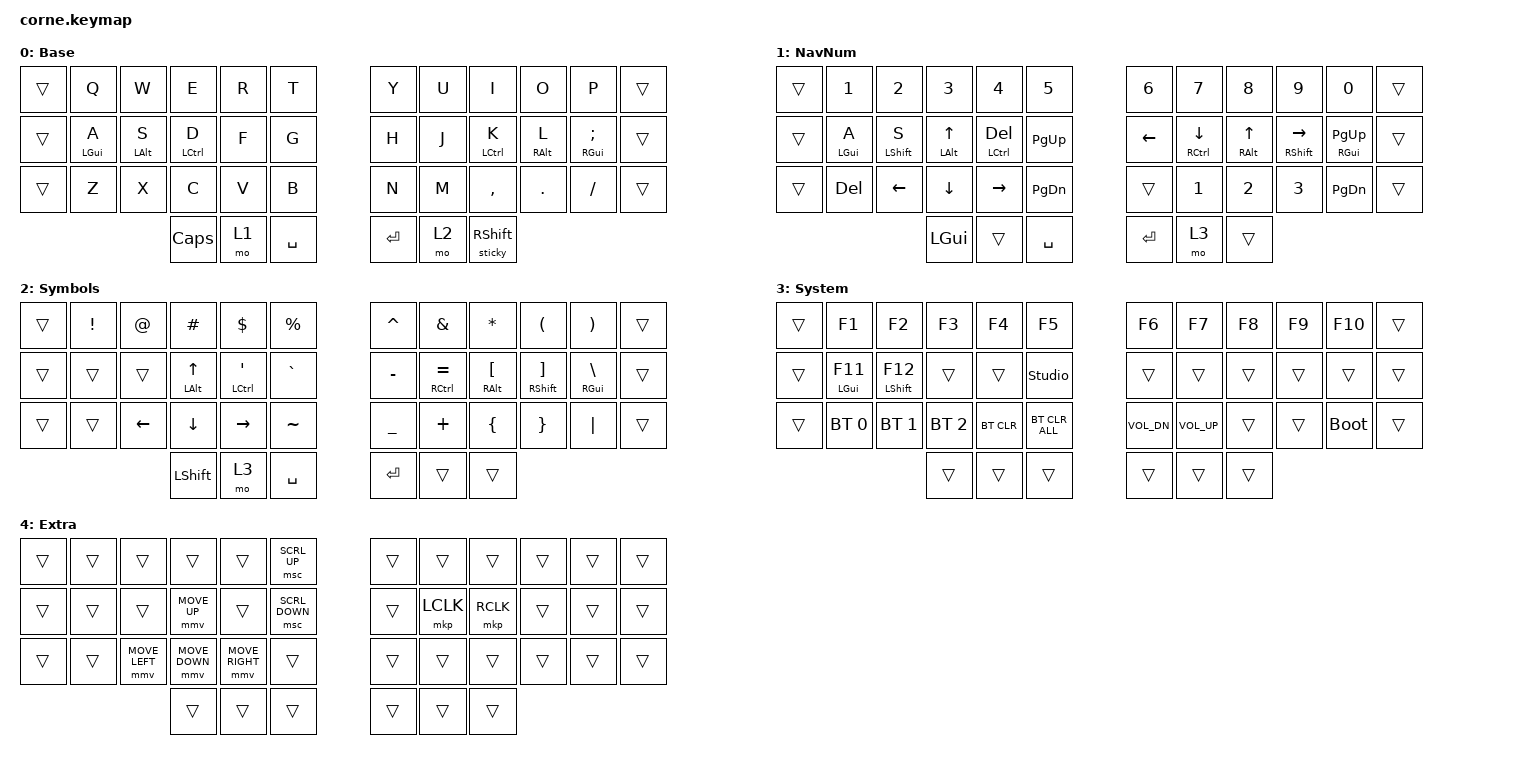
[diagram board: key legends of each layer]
#include <behaviors.dtsi>
#include <dt-bindings/zmk/bt.h>
#include <dt-bindings/zmk/keys.h>
#include <dt-bindings/zmk/pointing.h>

#define DEF 0
#define NAV 1
#define SYM 2
#define ADJ 3
#define EXTRA 4

/ {
    behaviors {
        hm: homerow_mods {
            compatible = "zmk,behavior-hold-tap";
            #binding-cells = <2>;
            tapping-term-ms = <200>;
            flavor = "tap-preferred";
            bindings = <&kp>, <&kp>;

            quick-tap-ms = <175>;
            require-prior-idle-ms = <150>; /* tune to taste */
            hold-trigger-on-release;
        };

        hml: homerow_mods_left {
            compatible = "zmk,behavior-hold-tap";
            label = "HML";
            bindings = <&kp>, <&kp>;

            #binding-cells = <2>;
            tapping-term-ms = <280>;
            quick-tap-ms = <200>;
            require-prior-idle-ms = <150>;
            flavor = "tap-preferred";
            hold-trigger-key-positions = <6 7 8 9 10 18 19 20 21 22 30 31 32 33 34>;
            hold-trigger-on-release;
        };

        hmr: homerow_mods_right {
            compatible = "zmk,behavior-hold-tap";
            label = "HMR";
            bindings = <&kp>, <&kp>;

            #binding-cells = <2>;
            tapping-term-ms = <280>;
            quick-tap-ms = <200>;
            require-prior-idle-ms = <150>;
            flavor = "tap-preferred";
            hold-trigger-key-positions = <1 2 3 4 5 13 14 15 16 17 25 26 27 28 29>;
            hold-trigger-on-release;
        };

        sticky: sticky {
            compatible = "zmk,behavior-sticky-key";
            label = "STICKY";
            bindings = <&kp>;
            #binding-cells = <1>;
            release-after-ms = <300>;
            quick-release;
        };
    };

    combos {
        compatible = "zmk,combos";

        Escape {
            bindings = <&kp ESC>;
            key-positions = <14 15 16>;
        };

        Backspace {
            bindings = <&kp BACKSPACE>;
            key-positions = <19 20 21>;
        };

        Tab {
            bindings = <&kp TAB>;
            key-positions = <7 8 9>;
        };

        question_mark {
            bindings = <&kp QUESTION>;
            key-positions = <32 33>;
        };

        exclamation_mark {
            bindings = <&kp EXCLAMATION>;
            key-positions = <20 21>;
        };

        backtick {
            bindings = <&kp GRAVE>;
            key-positions = <13 14>;
        };

        single_quote {
            bindings = <&kp SINGLE_QUOTE>;
            key-positions = <14 15>;
        };

        double_quote {
            bindings = <&kp DOUBLE_QUOTES>;
            key-positions = <15 16>;
        };

        colon {
            bindings = <&kp COLON>;
            key-positions = <21 22>;
        };

        lt {
            bindings = <&kp LT>;
            key-positions = <31 32>;
        };

        gt {
            bindings = <&kp GT>;
            key-positions = <33 34>;
        };

        l_shift {
            bindings = <&kp LEFT_SHIFT>;
            key-positions = <2 3>;
        };

        r_shift {
            bindings = <&kp RIGHT_SHIFT>;
            key-positions = <8 9>;
        };
    };

    //

    keymap {
        compatible = "zmk,keymap";

        DEF {
            display-name = "Base";

            // -----------------------------------------------------------------------------------------
            // |  Q  |  W  |  E  |  R  |  T  |   |  Y  |  U   |  I  |  O  |  P  |
            // |  A  |  S  |  D  |  F  |  G  |   |  H  |  J   |  K  |  L  |  ;  |
            // |  Z  |  X  |  C  |  V  |  B  |   |  N  |  M   |  ,  |  .  |  /  |
            // | GUI | CTRL | SHFT | LWR | SPC |   | ENT | RSE  | BKSP | ALT | ESC |

            bindings = <
&trans  &kp Q        &kp W        &kp E                &kp R  &kp T        &kp Y    &kp U  &kp I                &kp O        &kp P           &trans
&trans  &hml LGUI A  &hml LALT S  &hml LEFT_CONTROL D  &kp F  &kp G        &kp H    &kp J  &hmr LEFT_CONTROL K  &hmr RALT L  &hmr RGUI SEMI  &trans
&trans  &kp Z        &kp X        &kp C                &kp V  &kp B        &kp N    &kp M  &kp COMMA            &kp DOT      &kp FSLH        &trans
                                  &kp CAPSLOCK         &mo 1  &kp SPACE    &kp RET  &mo 2  &sticky RIGHT_SHIFT
            >;
        };

        NAV {
            display-name = "NavNum";

            // -----------------------------------------------------------------------------------------
            // |  TAB |  1  |  2  |  3  |  4  |  5  |   |  6  |  7  |  8  |  9  |  0  | BKSP |
            // | BTCLR| BT1 | BT2 | BT3 | BT4 | BT5 |   | LFT | DWN |  UP | RGT |     |      |
            // | SHFT |     |     |     |     |     |   |     |     |     |     |     |      |
            // | GUI | CTRL | SHFT | LWR | SPC |   | ENT | RSE  | BKSP | ALT | ESC |

            bindings = <
&trans  &kp NUMBER_1  &kp NUMBER_2  &kp NUMBER_3       &kp NUMBER_4     &kp NUMBER_5     &kp N6          &kp N7                &kp N8             &kp N9                 &kp N0            &trans
&trans  &hm LGUI A    &hm LSHFT S   &hm LALT UP_ARROW  &hm LCTRL DEL    &kp PAGE_UP      &kp LEFT_ARROW  &hm RCTRL DOWN_ARROW  &hm RALT UP_ARROW  &hm RSHFT RIGHT_ARROW  &hm RGUI PAGE_UP  &trans
&trans  &kp DEL       &kp LEFT      &kp DOWN           &kp RIGHT_ARROW  &kp PAGE_DOWN    &trans          &kp N1                &kp N2             &kp N3                 &kp PAGE_DOWN     &trans
                                    &kp LGUI           &trans           &kp SPACE        &kp RET         &mo 3                 &trans
            >;
        };

        SYM {
            display-name = "Symbols";

            // -----------------------------------------------------------------------------------------
            // |  TAB |  !  |  @  |  #  |  $  |  %  |   |  ^  |  &  |  *  |  (  |  )  | BKSP |
            // | CTRL |     |     |     |     |     |   |  -  |  =  |  [  |  ]  |  \  |  `   |
            // | SHFT |     |     |     |     |     |   |  _  |  +  |  {  |  }  | "|" |  ~   |
            //                    | GUI |     | SPC |   | ENT |     | ALT |

            bindings = <
&trans  &kp EXCL  &kp AT          &kp HASH           &kp DLLR         &kp PRCNT    &kp CARET  &kp AMPS         &kp ASTRK      &kp LEFT_PARENTHESIS  &kp RPAR       &trans
&trans  &trans    &trans          &hm LALT UP_ARROW  &hm LCTRL SQT    &kp GRAVE    &kp MINUS  &hm RCTRL EQUAL  &hm RALT LBKT  &hm RSHFT RBKT        &hm RGUI BSLH  &trans
&trans  &trans    &kp LEFT_ARROW  &kp DOWN_ARROW     &kp RIGHT_ARROW  &kp TILDE    &kp UNDER  &kp PLUS         &kp LBRC       &kp RBRC              &kp PIPE       &trans
                                  &kp LEFT_SHIFT     &mo 3            &kp SPACE    &kp RET    &trans           &trans
            >;
        };

        ADJ {
            display-name = "System";
            bindings = <
&trans  &kp F1        &kp F2         &kp F3        &kp F4      &kp F5            &kp F6        &kp F7        &kp F8  &kp F9  &kp F10      &trans
&trans  &hm LGUI F11  &hm LSHFT F12  &trans        &trans      &studio_unlock    &trans        &trans        &trans  &trans  &trans       &trans
&trans  &bt BT_SEL 0  &bt BT_SEL 1   &bt BT_SEL 2  &bt BT_CLR  &bt BT_CLR_ALL    &kp C_VOL_DN  &kp C_VOL_UP  &trans  &trans  &bootloader  &trans
                                     &trans        &trans      &trans            &trans        &trans        &trans
            >;
        };

        EXTRA {
            display-name = "Extra";
            bindings = <
&trans  &trans  &trans          &trans          &trans           &msc SCRL_UP      &trans  &trans     &trans     &trans  &trans  &trans
&trans  &trans  &trans          &mmv MOVE_UP    &trans           &msc SCRL_DOWN    &trans  &mkp LCLK  &mkp RCLK  &trans  &trans  &trans
&trans  &trans  &mmv MOVE_LEFT  &mmv MOVE_DOWN  &mmv MOVE_RIGHT  &trans            &trans  &trans     &trans     &trans  &trans  &trans
                                &trans          &trans           &trans            &trans  &trans     &trans
            >;
        };
    };
};
